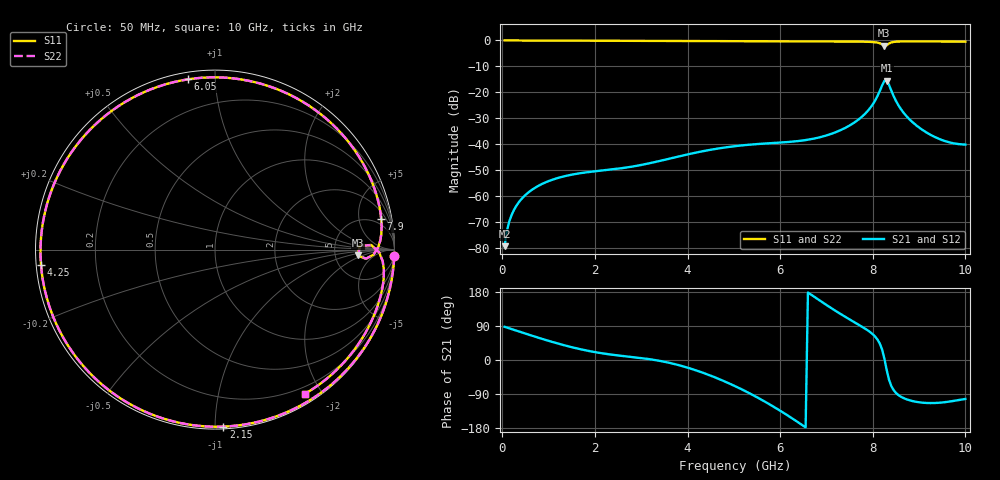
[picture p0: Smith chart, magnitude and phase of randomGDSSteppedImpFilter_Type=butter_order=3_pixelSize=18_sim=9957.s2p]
! freq	dB(S11)	phase(S11)	dB(S12)	phase(S12)
!  dB(S21)	phase(S21)	dB(S22)	phase(S22)
!S-par simulation data
#  GHz  S  DB  R 50
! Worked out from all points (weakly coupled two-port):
!   200 points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, 50 MHz to 10 GHz, reference 50 ohm
!   highest |S21| = -15.44 dB at 8.3 GHz (marker M1); lowest = -79.3 dB at 50 MHz (marker M2)
!   lowest |S11| = -2.0 dB at 8.25 GHz (marker M3), VSWR 8.76, Z = 424 - j74.8 ohm
!   |S11| at or under -10 dB: nowhere
!   |S22| runs from -2.0 to 0.0 dB; largest |S21 - S12| = 0
!   S11 on the Smith chart (normalised r, x): 50 MHz: 1, -55; 2.15 GHz: 0.01, -1.05; 4.25 GHz: 0.01, -0.04; 6.05 GHz: 0.03, +0.85; 7.9 GHz: 3, +10; 10 GHz: 0.12, -1.79
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0.05  -0.01 -2.1  -79.28 87.6  -79.28 87.6  -0.01 -2.1
0.1  -0.01 -4.1  -73.29 85.7  -73.29 85.7  -0.01 -4.1
0.2  -0.01 -8.2  -67.31 81.7  -67.31 81.7  -0.01 -8.2
0.5  -0.02 -20.5  -59.55 69.7  -59.55 69.7  -0.02 -20.5
1  -0.05 -40.9  -54.21 50.5  -54.21 50.5  -0.05 -40.9
1.75  -0.09 -71.2  -50.99 26.8  -50.99 26.8  -0.09 -71.2
2.15  -0.11 -87.3  -50.13 17.7  -50.13 17.7  -0.11 -87.3
2.75  -0.14 -111.5  -48.78 8.6  -48.78 8.6  -0.14 -111.5
3.4  -0.18 -138.3  -46.44 -2.3  -46.44 -2.3  -0.18 -138.3
4.25  -0.24 -174.9  -42.97 -30.1  -42.97 -30.1  -0.24 -174.9
5.05  -0.29 148.3  -40.69 -70.3  -40.69 -70.3  -0.29 148.3
6.05  -0.35 99.1  -39.30 -137.6  -39.30 -137.6  -0.35 99.1
6.7  -0.37 66.8  -37.93 169.8  -37.93 169.8  -0.37 66.8
7.4  -0.40 33.3  -33.75 114.4  -33.75 114.4  -0.40 33.3
7.9  -0.52 10.4  -26.97 77.5  -26.97 77.5  -0.52 10.4
8.25  -1.99 -2.3  -15.61 4.1  -15.61 4.1  -1.97 -2.3
8.3  -1.86 1.6  -15.44 -26.1  -15.44 -26.1  -1.84 1.5
8.35  -1.21 1.7  -17.09 -51.8  -17.09 -51.8  -1.19 1.6
8.6  -0.40 -11.4  -26.27 -96.3  -26.27 -96.3  -0.39 -11.5
8.95  -0.37 -25.2  -32.88 -110.7  -32.88 -110.7  -0.37 -25.2
9.45  -0.41 -41.9  -38.08 -112.7  -38.08 -112.7  -0.41 -41.9
10  -0.47 -58.1  -40.12 -102.7  -40.12 -102.7  -0.47 -58.1
